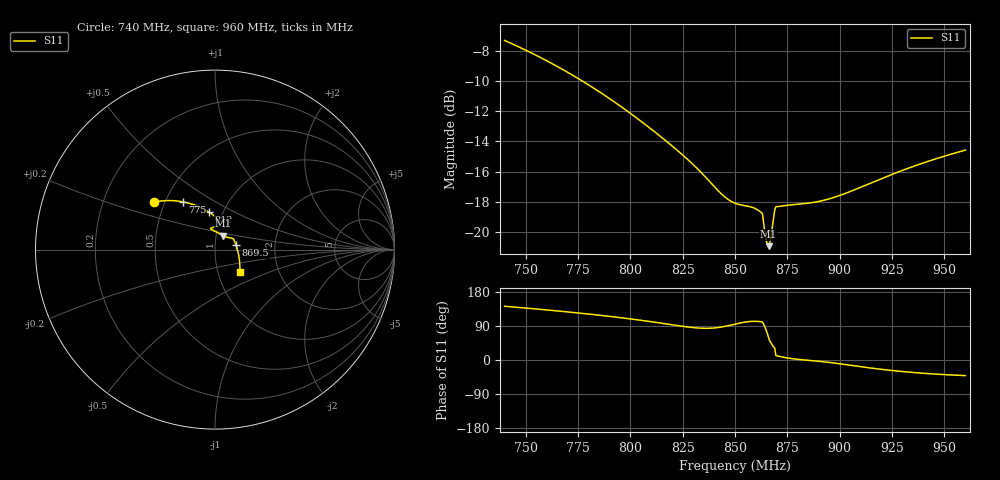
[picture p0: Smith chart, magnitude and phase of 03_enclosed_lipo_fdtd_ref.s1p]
! ISAC_868 Rev E.5 3D-FDTD Reference S11 at /BR_Q (3_Enclosed_With_302535_LiPo_Under_GND)
! Reference plane: /BR_Q (includes C_M1=3.6p, L_M1=8.2n||C_MZ=0.5p, C_M2=4.3p elliptic Pi-filter)
! Unloaded AE1 f0 = 869.0 MHz | Standalone |S11(866.5)| = -23.68 dB | Cascaded |S11(866.5)| = -20.81 dB
# GHz S RI R 50.0
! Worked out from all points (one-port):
!   442 points, 740 MHz to 960 MHz, reference 50 ohm
!   lowest |S11| = -20.9 dB at 866 MHz (marker M1), VSWR 1.20, Z = 54 + j8.49 ohm
!   |S11| at or under -10 dB: 776.9 MHz to end of sweep
!   S11 on the Smith chart (normalised r, x): 740 MHz: 0.44, +0.29; 775 MHz: 0.61, +0.36; 812 MHz: 0.86, +0.38; 869.5 MHz: 1.27, +0.06; 960 MHz: 1.28, -0.33
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0.74  -0.3379 0.2656
0.754  -0.2746 0.2728
0.7675  -0.214 0.2711
0.775  -0.181 0.2665
0.795  -0.0978 0.2427
0.812  -0.0352 0.2106
0.8225  -0.00286 0.1862
0.83  0.013 0.1668
0.836  0.017 0.1509
0.8445  0.00474 0.1318
0.85  -0.0103 0.1242
0.857  -0.0243 0.119
0.8625  -0.0223 0.114
0.863  -0.0214 0.1134
0.8631  -0.0212 0.1132
0.865  0.0209 0.091
0.8655  0.0326 0.0846
0.866  0.0446 0.078
0.867  0.0656 0.0693
0.868  0.0834 0.0653
0.8685  0.0925 0.0633
0.8695  0.1186 0.0249
0.8705  0.1195 0.022
0.8775  0.123 0.00725
0.8915  0.1267 -0.00934
0.905  0.1322 -0.0325
0.9325  0.1381 -0.0855
0.96  0.1405 -0.1229
